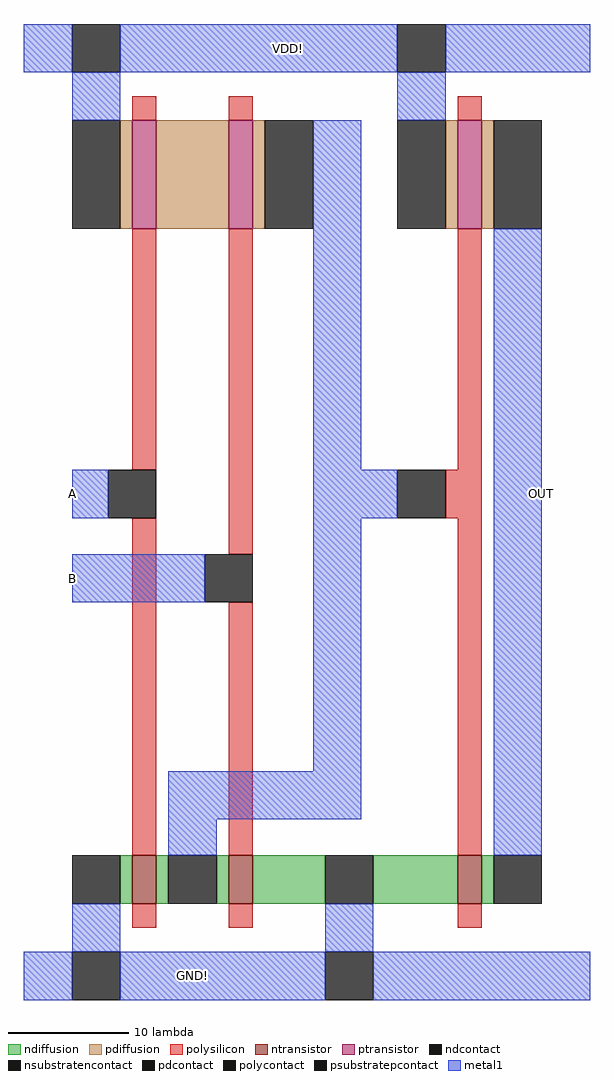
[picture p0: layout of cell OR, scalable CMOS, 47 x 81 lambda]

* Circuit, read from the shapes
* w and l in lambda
.subckt OR A B GND! OUT VDD!
M1 n1 A GND! GND! nfet w=4 l=2
M2 GND! B n1 GND! nfet w=4 l=2
M3 OUT n1 GND! GND! nfet w=4 l=2
M4 n2 A VDD! VDD! pfet w=9 l=2
M5 n1 B n2 VDD! pfet w=9 l=2
M6 OUT n1 VDD! VDD! pfet w=9 l=2
.ends

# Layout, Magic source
magic
tech scmos
<< ntransistor >>
rect -45 -16 -43 -12
rect -37 -16 -35 -12
rect -18 -16 -16 -12
<< ptransistor >>
rect -45 40 -43 49
rect -37 40 -35 49
rect -18 40 -16 49
<< ndiffusion >>
rect -46 -16 -45 -12
rect -43 -16 -42 -12
rect -38 -16 -37 -12
rect -35 -16 -29 -12
rect -25 -16 -18 -12
rect -16 -16 -15 -12
<< pdiffusion >>
rect -46 40 -45 49
rect -43 40 -37 49
rect -35 40 -34 49
rect -19 40 -18 49
rect -16 40 -15 49
<< ndcontact >>
rect -50 -16 -46 -12
rect -42 -16 -38 -12
rect -29 -16 -25 -12
rect -15 -16 -11 -12
<< pdcontact >>
rect -50 40 -46 49
rect -34 40 -30 49
rect -23 40 -19 49
rect -15 40 -11 49
<< psubstratepcontact >>
rect -50 -24 -46 -20
rect -29 -24 -25 -20
<< nsubstratencontact >>
rect -50 53 -46 57
rect -23 53 -19 57
<< polysilicon >>
rect -45 49 -43 51
rect -37 49 -35 51
rect -18 49 -16 51
rect -45 20 -43 40
rect -45 -12 -43 16
rect -37 13 -35 40
rect -18 20 -16 40
rect -19 16 -16 20
rect -37 -12 -35 9
rect -18 -12 -16 16
rect -45 -18 -43 -16
rect -37 -18 -35 -16
rect -18 -18 -16 -16
<< polycontact >>
rect -47 16 -43 20
rect -23 16 -19 20
rect -39 9 -35 13
<< metal1 >>
rect -54 53 -50 57
rect -46 53 -23 57
rect -19 53 -7 57
rect -50 49 -46 53
rect -23 49 -19 53
rect -30 20 -26 49
rect -50 16 -47 20
rect -30 16 -23 20
rect -50 9 -39 13
rect -30 -5 -26 16
rect -42 -9 -26 -5
rect -42 -12 -38 -9
rect -15 -12 -11 40
rect -50 -20 -46 -16
rect -29 -20 -25 -16
rect -54 -24 -50 -20
rect -46 -24 -29 -20
rect -25 -24 -7 -20
<< labels >>
rlabel metal1 -50 16 -50 20 3 A
rlabel metal1 -50 9 -50 13 3 B
rlabel metal1 -32 55 -32 55 5 VDD!
rlabel metal1 -11 16 -11 20 7 OUT
rlabel metal1 -40 -22 -40 -22 1 GND!
<< end >>
